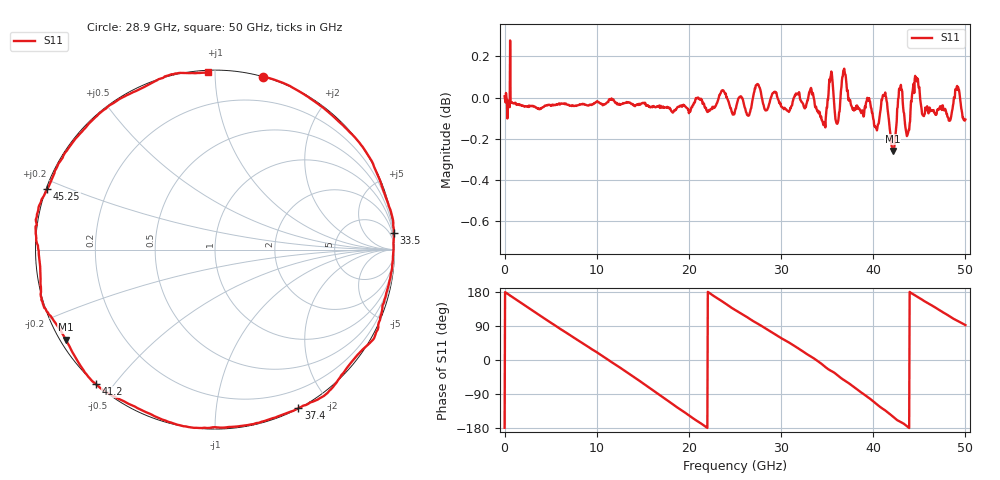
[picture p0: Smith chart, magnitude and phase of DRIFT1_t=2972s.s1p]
!Created with skrf (http://scikit-rf.org).
# Hz S RI R 50.0
!freq ReS11 ImS11
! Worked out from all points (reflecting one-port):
!   1001 points, 300 kHz to 50 GHz, reference 50 ohm
!   lowest |S11| = -0.3 dB at 42.1 GHz (marker M1), VSWR 66.73, Z = 0.807 - j13.9 ohm
!   phase of S11 starts at -179 deg and turns -809 deg over the sweep
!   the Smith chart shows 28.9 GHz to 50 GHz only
!   S11 on the Smith chart (normalised r, x): 28.9 GHz: 0.00, +1.32; 33.5 GHz: -0, +21; 37.4 GHz: 0.00, -1.66; 41.2 GHz: -0.00, -0.45; 45.25 GHz: 0.00, +0.18; 50 GHz: 0.01, +0.96
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300000  -1 -0.02
1.65029e9  -0.8866 0.4532
3.40028e9  -0.5608 0.8211
6.250262e9  0.1925 0.9778
9.600242e9  0.8925 0.4428
1.115023e10  0.9968 0.033
1.250022e10  0.9376 -0.336
1.580021e10  0.2639 -0.959
1.73002e10  -0.1777 -0.9786
1.875019e10  -0.5768 -0.8103
2.050018e10  -0.9006 -0.4254
2.180017e10  -0.9914 -0.073
2.350016e10  -0.9196 0.4009
2.500015e10  -0.6659 0.7361
2.715014e10  -0.1794 0.989
2.890013e10  0.2672 0.9636
3.125011e10  0.7628 0.6428
3.35001e10  0.9968 0.093
3.550009e10  0.8816 -0.5007
3.740008e10  0.4644 -0.8835
3.750008e10  0.4359 -0.8984
3.940006e10  -0.1317 -0.991
4.120005e10  -0.6642 -0.7488
4.210005e10  -0.8306 -0.5019
4.375004e10  -0.9782 -0.0583
4.525003e10  -0.934 0.3387
4.765001e10  -0.5655 0.8163
5e10  -0.0363 0.9871
